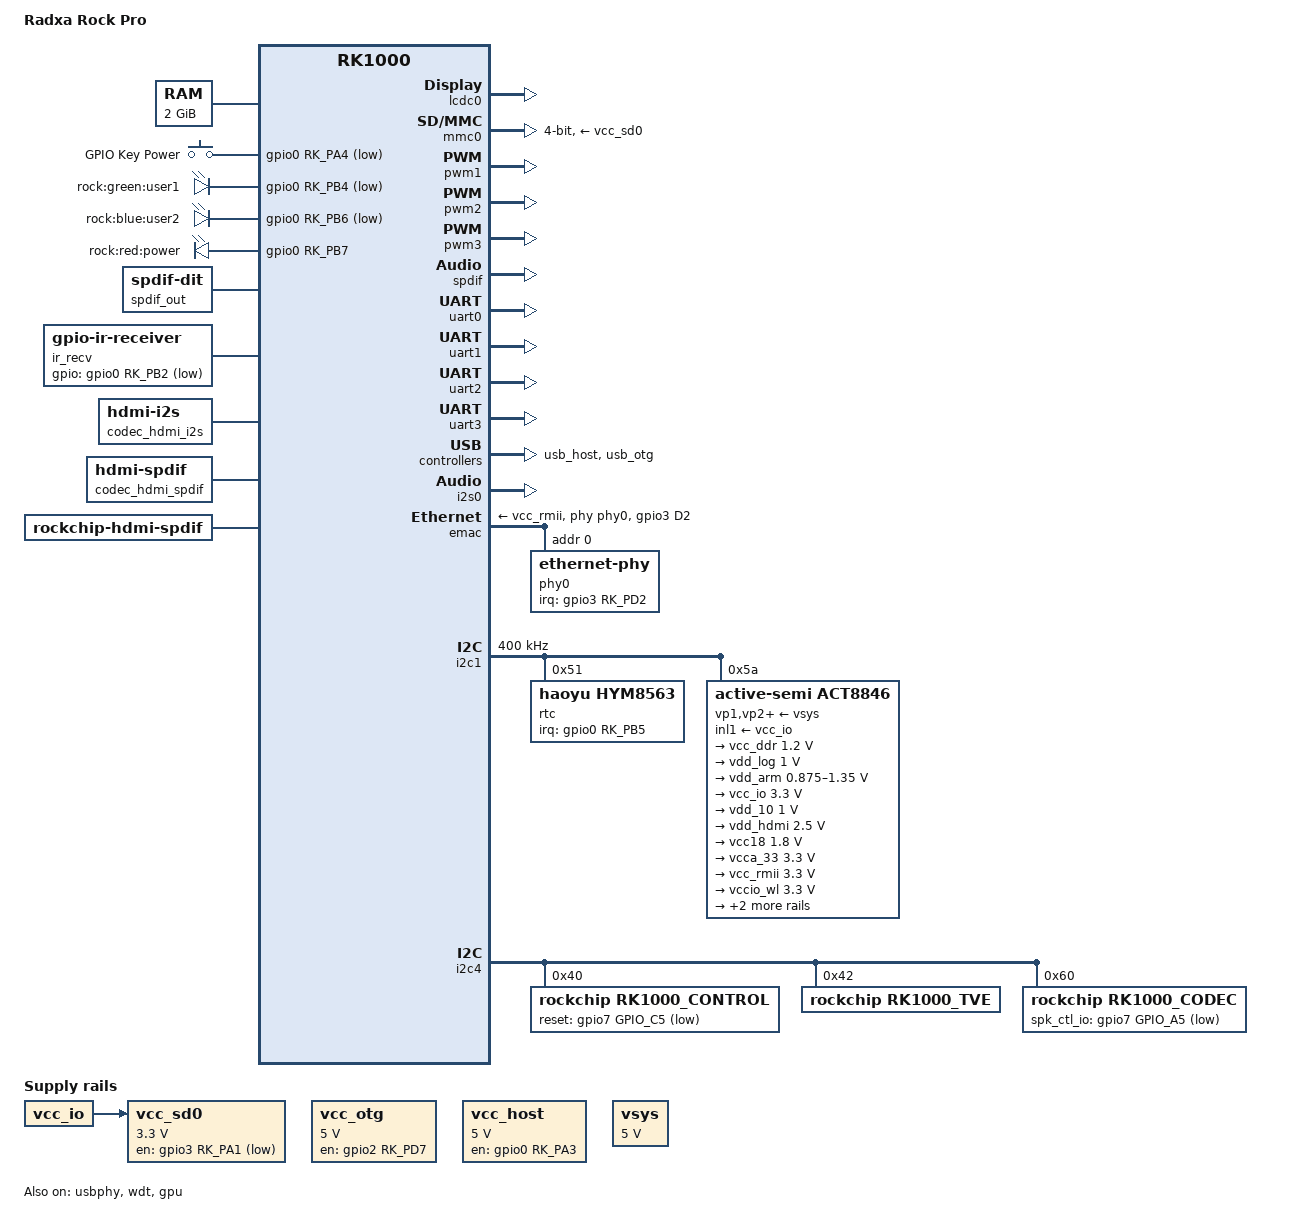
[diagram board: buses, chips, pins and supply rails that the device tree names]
// SPDX-License-Identifier: (GPL-2.0+ OR MIT)
/*
 * Copyright (c) 2013 Heiko Stuebner <heiko@sntech.de>
 */

/dts-v1/;
#include <dt-bindings/i2c/i2c.h>
#include <dt-bindings/input/input.h>
#include <dt-bindings/rkfb/rk_fb.h>
//#include <dt-bindings/display/rk_fb.h>
//#include "rk616.dtsi"
#include "rk3188.dtsi"
//#include "lcd-box.dtsi"
//#include <dt-bindings/display/screen-timing/lcd-box.dtsi>
/ {
	model = "Radxa Rock Pro";
	compatible = "radxa,rock", "rockchip,rk3188", "rockchip,rk3066", "rockchip,rk3066a";

	aliases {
		lcdc0 = &lcdc0;
		lcdc1 = &lcdc1;
	};

	memory@60000000 {
		device_type = "memory";
		reg = <0x60000000 0x80000000>;
	};

	gpio-keys {
		compatible = "gpio-keys";
		autorepeat;

		power {
			gpios = <&gpio0 RK_PA4 GPIO_ACTIVE_LOW>;
			linux,code = <KEY_POWER>;
			label = "GPIO Key Power";
			linux,input-type = <1>;
			wakeup-source;
			debounce-interval = <100>;
		};
	};

	gpio-leds {
		compatible = "gpio-leds";

		green: led-0 {
			label = "rock:green:user1";
			gpios = <&gpio0 RK_PB4 GPIO_ACTIVE_LOW>;
			default-state = "off";
		};

		blue: led-1 {
			label = "rock:blue:user2";
			gpios = <&gpio0 RK_PB6 GPIO_ACTIVE_LOW>;
			default-state = "off";
		};

		sleep: led-2 {
			label = "rock:red:power";
			gpios = <&gpio0 RK_PB7 GPIO_ACTIVE_HIGH>;
			default-state = "off";
		};
	};

	sound {
		compatible = "simple-audio-card";
		simple-audio-card,name = "SPDIF";

		simple-audio-card,dai-link@1 {  /* S/PDIF - S/PDIF */
			cpu { sound-dai = <&spdif>; };
			codec { sound-dai = <&spdif_out>; };
		};
	};

	spdif_out: spdif-out {
		compatible = "linux,spdif-dit";
		#sound-dai-cells = <0>;
	};

	ir_recv: gpio-ir-receiver {
		compatible = "gpio-ir-receiver";
		gpios = <&gpio0 RK_PB2 GPIO_ACTIVE_LOW>;
		pinctrl-names = "default";
		pinctrl-0 = <&ir_recv_pin>;
	};

	vcc_otg: usb-otg-regulator {
		compatible = "regulator-fixed";
		enable-active-high;
		gpio = <&gpio2 RK_PD7 GPIO_ACTIVE_HIGH>;
		pinctrl-names = "default";
		pinctrl-0 = <&otg_vbus_drv>;
		regulator-name = "otg-vbus";
		regulator-min-microvolt = <5000000>;
		regulator-max-microvolt = <5000000>;
		regulator-always-on;
		regulator-boot-on;
	};

	vcc_sd0: sdmmc-regulator {
		compatible = "regulator-fixed";
		regulator-name = "sdmmc-supply";
		regulator-min-microvolt = <3300000>;
		regulator-max-microvolt = <3300000>;
		gpio = <&gpio3 RK_PA1 GPIO_ACTIVE_LOW>;
		pinctrl-names = "default";
		pinctrl-0 = <&sdmmc_pwr>;
		startup-delay-us = <100000>;
		vin-supply = <&vcc_io>;
	};

	vcc_host: usb-host-regulator {
		compatible = "regulator-fixed";
		enable-active-high;
		gpio = <&gpio0 RK_PA3 GPIO_ACTIVE_HIGH>;
		pinctrl-names = "default";
		pinctrl-0 = <&host_vbus_drv>;
		regulator-name = "host-pwr";
		regulator-min-microvolt = <5000000>;
		regulator-max-microvolt = <5000000>;
		regulator-always-on;
		regulator-boot-on;
	};

	vsys: vsys-regulator {
		compatible = "regulator-fixed";
		regulator-name = "vsys";
		regulator-min-microvolt = <5000000>;
		regulator-max-microvolt = <5000000>;
		regulator-boot-on;
	};

	/*hdmi: hdmi@10114000 {
		compatible = "rockchip,rk3066-hdmi";
		reg = <0x10114000 0x2000>;
		interrupts = <GIC_SPI 64 IRQ_TYPE_LEVEL_HIGH>;
		clocks = <&cru HCLK_HDMI>;
		clock-names = "hclk";
		pinctrl-names = "default";
		pinctrl-0 = <&hdmii2c_xfer>, <&hdmi_hpd>;
		power-domains = <&power RK3066_PD_VIO>;
		rockchip,grf = <&grf>;
		status = "disabled";

		ports {
			#address-cells = <1>;
			#size-cells = <0>;

			hdmi_in: port@0 {
				reg = <0>;
				#address-cells = <1>;
				#size-cells = <0>;

				hdmi_in_vop0: endpoint@0 {
					reg = <0>;
					remote-endpoint = <&vop0_out_hdmi>;
				};

				hdmi_in_vop1: endpoint@1 {
					reg = <1>;
					remote-endpoint = <&vop1_out_hdmi>;
				};
			};

			hdmi_out: port@1 {
				reg = <1>;
			};
		};
	};*/


	codec_hdmi_i2s: codec-hdmi-i2s {
		compatible = "hdmi-i2s";
	};

	codec_hdmi_spdif: codec-hdmi-spdif {
		compatible = "hdmi-spdif";
	};

	/*rockchip-rk610 {
		compatible = "rockchip-rk610";
		dais {
			dai0 {
				audio-codec = <&rk610_codec>;
				audio-controller = <&i2s0>;
				format = "i2s";
				//continuous-clock;
				//bitclock-inversion;
				//frame-inversion;
				//bitclock-master;
				//frame-master;
			};
		};
	};*/
	/*rockchip-rk616 {
		compatible = "rockchip-rk616";
		dais {
			dai0 {
				audio-codec = <&rk616>;
				audio-controller = <&i2s0>;
				format = "i2s";
				//continuous-clock;
				//bitclock-inversion;
				//frame-inversion;
				//bitclock-master;
				//frame-master;
			};
			dai1 {
				audio-codec = <&rk616>;
				audio-controller = <&i2s0>;
				format = "dsp_a";
				//continuous-clock;
				bitclock-inversion;
				//frame-inversion;
				//bitclock-master;
				//frame-master;
			};
		};
	};*/

    /*
	rk616,lcd0_func = <1>;
    rk616,lcd1_func = <1>;
    rk616,lvds_ch_nr = <1>;
	.addr	       = 0x50,
	#define INVALID_GPIO -1
	*/
	/*rk616 {
		compatible = "rockchip,rk616";
		rk616,scl_rate = <100000>;
		rk616,lcd0_func = <1>;
		rk616,lcd1_func = <0>;
		rk616,lvds_ch_nr = <1>;
		//rk616,hdmi_irq_gpio = <&gpio2 GPIO_D6 1>;
		rk616,hdmi_irq_gpio = <-1>;
		rk616-codec {
			//spk-ctl-gpio = <&gpio2 GPIO_D7 GPIO_ACTIVE_HIGH>;
			spk-ctl-gpio = <-1>;
			//hp-ctl-gpio = <&gpio2 GPIO_D7 GPIO_ACTIVE_HIGH>;
			hp-ctl-gpio = <-1>;
			//rcv-ctl-gpio = <&gpio2 GPIO_D7 GPIO_ACTIVE_HIGH>;
			//mic-sel-gpio = <&gpio2 GPIO_D7 GPIO_ACTIVE_HIGH>;

			//delay for MOSFET or SPK power amplifier chip(ms)
			spk-amplifier-delay = <150>;
			hp-mosfet-delay = <50>;

			//hp-mic-capture-from-linein; //If hpmic is connected to linein, set this.
			//hp-mic-capture-from-mic2in; //If hpmic is connected to mic2, set this.
			//virtual-hp-gnd; //If hp gnd is not connected to gnd(0V), set this.

			//volume setting: 0 ~ 31, -18dB ~ 28.5dB, Step: 1.5dB
			skp-volume = <24>;
			hp-volume = <24>;
			capture-volume = <24>;
		};

		power_ctr: rk616_power_ctr {
			rk616_pwren: rk616_pwren {
				rockchip,power_type = <GPIO>;
				gpios = <&gpio0 GPIO_A3 GPIO_ACTIVE_HIGH>;
				rockchip,delay = <0>;
			};

			rk616_rst: rk616_rst {
				rockchip,power_type = <GPIO>;
				gpios = <&gpio3 GPIO_B2 GPIO_ACTIVE_HIGH>;
				rockchip,delay = <10>;
			};
		};
	};

	&rk618 {
		status = "okay";

		hdmi {
			compatible = "rockchip,rk618-hdmi";
			clocks = <&CRU HDMI_CLK>;
			clock-names = "hdmi";
			interrupt-parent = <&gpio3>;
			interrupts = <23 IRQ_TYPE_LEVEL_HIGH>;
			status = "okay";

			ports {
				#address-cells = <1>;
				#size-cells = <0>;

				port@0 {
					reg = <0>;

					bridge_input_rgb: endpoint {
						remote-endpoint = <&rgb_out_bridge>;
					};
				};
			};
		};
	};
	*/

	rockchip-hdmi-i2s {
		compatible = "rockchip-hdmi-i2s";
		dais {
			dai0 {
				audio-codec = <&codec_hdmi_i2s>;
				audio-controller = <&i2s0>;
				format = "i2s";
				//continuous-clock;
				//bitclock-inversion;
				//frame-inversion;
				//bitclock-master;
				//frame-master;
			};
		};
	};

	rockchip-hdmi-spdif {
		compatible = "rockchip-hdmi-spdif";
	};

	rockchip-rk1000 {
		compatible = "rockchip-rk1000";
		dais {
			dai0 {
				audio-codec = <&rk1000_codec>;
				audio-controller = <&i2s>;
				format = "i2s";
			};
		};
	};

/*
	vop0: vop@1010c000 {
		compatible = "rockchip,rk3188-vop";
		reg = <0x1010c000 0x1000>;
		interrupts = <GIC_SPI 13 IRQ_TYPE_LEVEL_HIGH>;
		clocks = <&cru ACLK_LCDC0>, <&cru DCLK_LCDC0>, <&cru HCLK_LCDC0>;
		clock-names = "aclk_vop", "dclk_vop", "hclk_vop";
		power-domains = <&power RK3188_PD_VIO>;
		resets = <&cru SRST_LCDC0_AXI>, <&cru SRST_LCDC0_AHB>, <&cru SRST_LCDC0_DCLK>;
		reset-names = "axi", "ahb", "dclk";
		status = "disabled";

		vop0_out: port {
			#address-cells = <1>;
			#size-cells = <0>;
		};
	};

	vop1: vop@1010e000 {
		compatible = "rockchip,rk3188-vop";
		reg = <0x1010e000 0x1000>;
		interrupts = <GIC_SPI 14 IRQ_TYPE_LEVEL_HIGH>;
		clocks = <&cru ACLK_LCDC1>, <&cru DCLK_LCDC1>, <&cru HCLK_LCDC1>;
		clock-names = "aclk_vop", "dclk_vop", "hclk_vop";
		power-domains = <&power RK3188_PD_VIO>;
		resets = <&cru SRST_LCDC1_AXI>, <&cru SRST_LCDC1_AHB>, <&cru SRST_LCDC1_DCLK>;
		reset-names = "axi", "ahb", "dclk";
		status = "disabled";

		vop1_out: port {
			#address-cells = <1>;
			#size-cells = <0>;
		};
	};
	*/

	//3128


	/*hdmi: hdmi@20034000 {
		compatible = "rockchip,rk312x-hdmi";
		reg = <0x20034000 0x4000>;
		interrupts = <GIC_SPI 45 IRQ_TYPE_LEVEL_HIGH>;
		rockchip,hdmi_lcdc_source = <0>;
		pinctrl-names = "default", "gpio";
		pinctrl-0 = <&hdmi_cec &hdmi_sda &hdmi_scl &hdmi_hpd>;
		pinctrl-1 = <&hdmi_gpio>;
		clocks = <&clk_gates3 8>, <&pd_hdmi>;
		clock-names = "pclk_hdmi", "pd_hdmi";
		rockchip,hdcp_enable = <0>;
		rockchip,cec_enable = <0>;
		status = "okay";
	};*/

	fb: fb{
		compatible = "rockchip,rk-fb";
		rockchip,disp-mode = <ONE_DUAL>;
		//rockchip,disp-mode = <DUAL>;
		//rockchip,disp-mode = <NO_DUAL>;
		//rockchip,uboot-logo-on = <1>;
		//rockchip,disp-policy = <DISPLAY_POLICY_BOX>;
	};
	rk_screen: rk_screen{
		compatible = "rockchip,screen";
		//display-timings = <&disp_timings>;
		#include <dt-bindings/display/screen-timing/lcd-box.dtsi>
	};
	/*&disp_timings {
		native-mode = <&timing1>;
	};	*/

	lcdc0: lcdc0@1010c000 {
		compatible = "rockchip,rk3188-lcdc";
		rockchip,prop = <PRMRY>;
		reg = <0x1010c000 0x2000>;
		interrupts = <GIC_SPI 9 IRQ_TYPE_LEVEL_HIGH>;
		clocks = <&clk_gates6 0>, <&dclk_lcdc0>, <&clk_gates6 1>, <&sclk_lcdc0>, <&pd_vop>, <&clk_cpll>;
		clock-names = "aclk_lcdc", "dclk_lcdc", "hclk_lcdc", "sclk_lcdc", "pd_lcdc", "sclk_pll";
		rockchip,iommu-enabled = <1>;
		status = "okay";

		pinctrl-names = "default", "gpio";
		pinctrl-0 = <&lcdc0_lcdc>;
		pinctrl-1 = <&lcdc0_gpio>;

		rockchip,fb-win-map = <FB_DEFAULT_ORDER>;
		rockchip,fb-win-map = <FB0_WIN0_FB1_WIN1_FB2_WIN2>;
		power_ctr: power_ctr {
			rockchip,debug = <1>;
			lcd_en: lcd_en {
				rockchip,power_type = <GPIO>;
				//gpios = <&gpio3 GPIO_C4 GPIO_ACTIVE_HIGH>;
				//gpios = <&gpio0 GPIO_B0 &pcfg_pull_none>;
				gpios = <&gpio0 RK_PB0 &pcfg_pull_none>;
				//gpios = <0 RK_PB0 RK_FUNC_GPIO &pcfg_pull_none>;
				rockchip,delay = <10>;
			};
			lcd_cs:lcd_cs {
				rockchip,power_type = <GPIO>;
				gpios = <&gpio2 GPIO_D6 GPIO_ACTIVE_HIGH>;
				rockchip,delay = <10>;
			};
			/*lcd_rst:lcd_rst {
				rockchip,power_type = <REGULATOR>;
				rockchip,delay = <5>;
			};*/
		};
	};
	lcdc1: lcdc1@1010e000 {
		compatible = "rockchip,rk3188-lcdc";
		rockchip,prop = <PRMRY>;
		reg = <0x1010e000 0x2000>;
		interrupts = <GIC_SPI 9 IRQ_TYPE_LEVEL_HIGH>;
		clocks = <&clk_gates6 0>, <&dclk_lcdc1>, <&clk_gates6 1>, <&sclk_lcdc1>, <&pd_vop>, <&clk_cpll>;
		clock-names = "aclk_lcdc", "dclk_lcdc", "hclk_lcdc", "sclk_lcdc", "pd_lcdc", "sclk_pll";
		rockchip,iommu-enabled = <1>;
		status = "disabled";

		pinctrl-names = "default", "gpio";
		pinctrl-0 = <&lcdc1_lcdc>;
		pinctrl-1 = <&lcdc1_gpio>;

		rockchip,fb-win-map = <FB_DEFAULT_ORDER>;
		rockchip,fb-win-map = <FB0_WIN0_FB1_WIN1_FB2_WIN2>;
		power_ctr: power_ctr {
			rockchip,debug = <1>;
			rockchip,mirror = <NO_MIRROR>;
			lcd_en: lcd_en {
				rockchip,power_type = <GPIO>;
				//gpios = <&gpio3 GPIO_C4 GPIO_ACTIVE_HIGH>;
				//gpios = <&gpio0 GPIO_B0 &pcfg_pull_none>;
				gpios = <&gpio0 RK_PB0 &pcfg_pull_none>;
				//gpios = <0 RK_PB0 RK_FUNC_GPIO &pcfg_pull_none>;
				rockchip,delay = <10>;
			};
			lcd_cs:lcd_cs {
				rockchip,power_type = <GPIO>;
				gpios = <&gpio2 GPIO_D6 GPIO_ACTIVE_HIGH>;
				rockchip,delay = <10>;
			};
			/*lcd_rst:lcd_rst {
				rockchip,power_type = <REGULATOR>;
				rockchip,delay = <5>;
			};*/
		};
	};
	/*lcd_cs: lcd-cs {
		rockchip,pins = <3 RK_PD6 RK_FUNC_GPIO &pcfg_pull_none>;
	};

	lcd_en: lcd-en {
		rockchip,pins = <0 RK_PB0 RK_FUNC_GPIO &pcfg_pull_none>;
	};*/



	/*&lcdc {
		//backlight = <&backlight>;
		pinctrl-names = "default", "gpio";
		pinctrl-0 = <&lcdc0_lcdc>;
		pinctrl-1 = <&lcdc0_gpio>;

		rockchip,fb-win-map = <FB_DEFAULT_ORDER>;
		rockchip,fb-win-map = <FB0_WIN0_FB1_WIN1_FB2_WIN2>;
		power_ctr: power_ctr {
			rockchip,debug = <0>;
			/*
			lcd_en: lcd_en {
				rockchip,power_type = <GPIO>;
				gpios = <&gpio3 GPIO_C4 GPIO_ACTIVE_HIGH>;
				rockchip,delay = <10>;
			};
			* /
		};
	};*/


	//3128

};

&cpu0 {
	cpu-supply = <&vdd_arm>;
};

&cpu1 {
	cpu-supply = <&vdd_arm>;
};

&cpu2 {
	cpu-supply = <&vdd_arm>;
};

&cpu3 {
	cpu-supply = <&vdd_arm>;
};

&mmc0 {
	status = "okay";
	pinctrl-names = "default";
	pinctrl-0 = <&sd0_clk>, <&sd0_cmd>, <&sd0_cd>, <&sd0_bus4>;
	vmmc-supply = <&vcc_sd0>;

	bus-width = <4>;
	cap-mmc-highspeed;
	cap-sd-highspeed;
	disable-wp;
};

&pwm1 {
	status = "okay";
};

&pwm2 {
	status = "okay";
};

&pwm3 {
	status = "okay";
};

&spdif {
	status = "okay";
};

&uart0 {
	status = "okay";
};

&uart1 {
	status = "okay";
};

&uart2 {
	status = "okay";
};

&uart3 {
	status = "okay";
};

&usbphy {
	status = "okay";
};

&usb_host {
	status = "okay";
};

&usb_otg {
	status = "okay";
};

&wdt {
	status = "okay";
};

&i2s0 {
	status = "okay";
};

&emac {
	status = "okay";

	pinctrl-names = "default";
	pinctrl-0 = <&emac_xfer>, <&emac_mdio>, <&phy_int>;

	phy = <&phy0>;
	phy-supply = <&vcc_rmii>;

	phy0: ethernet-phy@0 {
		reg = <0>;
		interrupt-parent = <&gpio3>;
		interrupts = <RK_PD2 IRQ_TYPE_LEVEL_LOW>;
	};
};

&i2c1 {
	status = "okay";
	clock-frequency = <400000>;

	rtc@51 {
		compatible = "haoyu,hym8563";
		reg = <0x51>;
		interrupt-parent = <&gpio0>;
		interrupts = <RK_PB5 IRQ_TYPE_EDGE_FALLING>;
		pinctrl-names = "default";
		pinctrl-0 = <&rtc_int>;
		#clock-cells = <0>;
		clock-output-names = "xin32k";
	};

	act8846: act8846@5a {
		compatible = "active-semi,act8846";
		reg = <0x5a>;
		status = "okay";
		system-power-controller;

		pinctrl-names = "default";
		pinctrl-0 = <&act8846_dvs0_ctl>;

		vp1-supply = <&vsys>;
		vp2-supply = <&vsys>;
		vp3-supply = <&vsys>;
		vp4-supply = <&vsys>;
		inl1-supply = <&vcc_io>;
		inl2-supply = <&vsys>;
		inl3-supply = <&vsys>;

		regulators {
			vcc_ddr: REG1 {
				regulator-name = "VCC_DDR";
				regulator-min-microvolt = <1200000>;
				regulator-max-microvolt = <1200000>;
				regulator-always-on;
			};

			vdd_log: REG2 {
				regulator-name = "VDD_LOG";
				regulator-min-microvolt = <1000000>;
				regulator-max-microvolt = <1000000>;
				regulator-always-on;
			};

			vdd_arm: REG3 {
				regulator-name = "VDD_ARM";
				regulator-min-microvolt = <875000>;
				regulator-max-microvolt = <1350000>;
				regulator-always-on;
			};

			vcc_io: REG4 {
				regulator-name = "VCC_IO";
				regulator-min-microvolt = <3300000>;
				regulator-max-microvolt = <3300000>;
				regulator-always-on;
			};

			vdd_10: REG5 {
				regulator-name = "VDD_10";
				regulator-min-microvolt = <1000000>;
				regulator-max-microvolt = <1000000>;
				regulator-always-on;
			};

			vdd_hdmi: REG6 {
				regulator-name = "VDD_HDMI";
				regulator-min-microvolt = <2500000>;
				regulator-max-microvolt = <2500000>;
				regulator-always-on;
			};

			vcc18: REG7 {
				regulator-name = "VCC_18";
				regulator-min-microvolt = <1800000>;
				regulator-max-microvolt = <1800000>;
				regulator-always-on;
			};

			vcca_33: REG8 {
				regulator-name = "VCCA_33";
				regulator-min-microvolt = <3300000>;
				regulator-max-microvolt = <3300000>;
				regulator-always-on;
			};

			vcc_rmii: REG9 {
				regulator-name = "VCC_RMII";
				regulator-min-microvolt = <3300000>;
				regulator-max-microvolt = <3300000>;
			};

			vccio_wl: REG10 {
				regulator-name = "VCCIO_WL";
				regulator-min-microvolt = <3300000>;
				regulator-max-microvolt = <3300000>;
				regulator-always-on;
			};

			vcc_18: REG11 {
				regulator-name = "VCC18_IO";
				regulator-min-microvolt = <1800000>;
				regulator-max-microvolt = <1800000>;
				regulator-always-on;
			};

			vcc28: REG12 {
				regulator-name = "VCC_28";
				regulator-min-microvolt = <2800000>;
				regulator-max-microvolt = <2800000>;
				regulator-always-on;
			};
		};
	};
};

&i2c4 {
	status = "okay";
	rk1000_control@40 {
		compatible = "rockchip,rk1000_control";
		reg = <0x40>;
		gpio-reset = <&gpio7 GPIO_C5 GPIO_ACTIVE_LOW>;
		#clocks = <&clk_i2s>, <&clk_i2s_out>;
		#clock-names = "i2s_clk","i2s_mclk";
		#pinctrl-names = "default";
		#pinctrl-0 = <&i2s_mclk>;
		status = "okay";
	};
	rk1000_tve@42 {
		compatible = "rockchip,rk1000_tve";
		reg = <0x42>;
		#rockchip,source = <0>; //0: LCDC0; 1: LCDC1
		#rockchip,prop = <PRMRY>;//<EXTEND>
		rockchip,source = <0>; //0: LCDC0; 1: LCDC1
		rockchip,prop = <EXTEND>;//<>
		status = "okay";
	};
	rk1000_codec: rk1000_codec@60 {
		compatible = "rockchip,rk1000_codec";
		reg = <0x60>;
		spk_ctl_io = <&gpio7 GPIO_A5 GPIO_ACTIVE_LOW>;
		boot_depop = <1>;
		pa_enable_time = <5000>;
		status = "okay";
	};
};

&pinctrl {
	pcfg_output_low: pcfg-output-low {
		output-low;
	};

	act8846 {
		act8846_dvs0_ctl: act8846-dvs0-ctl {
			rockchip,pins = <3 RK_PD3 RK_FUNC_GPIO &pcfg_output_low>;
		};
	};

	hym8563 {
		rtc_int: rtc-int {
			rockchip,pins = <0 RK_PA0 RK_FUNC_GPIO &pcfg_pull_up>;
		};
	};

	lan8720a  {
		phy_int: phy-int {
			rockchip,pins = <3 RK_PD2 RK_FUNC_GPIO &pcfg_pull_up>;
		};
	};

	ir-receiver {
		ir_recv_pin: ir-recv-pin {
			rockchip,pins = <0 RK_PB2 RK_FUNC_GPIO &pcfg_pull_none>;
		};
	};

	sd0 {
		sdmmc_pwr: sdmmc-pwr {
			rockchip,pins = <3 RK_PA1 RK_FUNC_GPIO &pcfg_pull_none>;
		};
	};

	usb {
		host_vbus_drv: host-vbus-drv {
			rockchip,pins = <0 RK_PA3 RK_FUNC_GPIO &pcfg_pull_none>;
		};
		otg_vbus_drv: otg-vbus-drv {
			rockchip,pins = <2 RK_PD7 RK_FUNC_GPIO &pcfg_pull_none>;
		};
	};

	display {
		lcd_cs: lcd-cs {
			rockchip,pins = <3 RK_PD6 RK_FUNC_GPIO &pcfg_pull_none>;
		};

		lcd_en: lcd-en {
			rockchip,pins = <0 RK_PB0 RK_FUNC_GPIO &pcfg_pull_none>;
		};
	};
};


&gpu {
	assigned-clocks = <&cru ACLK_GPU>;
	assigned-clock-rates = <300000000>;
	mali-supply = <&vdd_log>;
	status = "okay";
};

/*
&vop0 {
	status = "okay";
};

&vop0_out {
	vop0_out_lvds: endpoint {
		remote-endpoint = <&lvds_in_vop0>;
	};
};

&vop1 {
	pinctrl-names = "default";
	pinctrl-0 = <&lcdc1_dclk &lcdc1_den &lcdc1_hsync
		     &lcdc1_vsync &lcdc1_rgb24>;
	status = "okay";
};

/*&vop1_out {
	vop1_out_hdmi: endpoint {
		remote-endpoint = <&hdmi_in_vop>;
	};
};*/


/*

+&cru {
+    assigned-clocks = <&cru PLL_CPLL>, <&cru PLL_GPLL>,
+              <&cru ACLK_CPU>, <&cru HCLK_CPU>,
+              <&cru PCLK_CPU>, <&cru ACLK_PERI>,
+              <&cru HCLK_PERI>, <&cru PCLK_PERI>,
+              <&cru ACLK_LCDC0>, <&cru ACLK_LCDC1>;
+    assigned-clock-rates = <594000000>, <1200000000>,
+                   <300000000>, <150000000>,
+                   <75000000>, <300000000>,
+                   <150000000>, <75000000>,
+                   <297000000>, <297000000>;
+};
+

+	hdmi {
+		hdmi_int: hdmi-int {
+			rockchip,pins = <2 RK_PD6 RK_FUNC_GPIO &pcfg_pull_up>;
+		};
+
+		hdmi_rst: hdmi-rst {
+			rockchip,pins = <3 RK_PB2 RK_FUNC_GPIO &pcfg_pull_none>;
+		};
+	};
+



disp_timings: display-timings {
	native-mode = <&timing0>;
	timing0: timing0 {
			screen-type = <SCREEN_LVDS>;
			lvds-format = <LVDS_8BIT_2>;
			out-face    = <OUT_D888_P666>;
			clock-frequency = <71000000>;
			hactive = <1280>;
			vactive = <800>;
			hback-porch = <100>;
			hfront-porch = <18>;
			vback-porch = <8>;
			vfront-porch = <6>;
			hsync-len = <10>;
			vsync-len = <2>;
			hsync-active = <0>;
			vsync-active = <0>;
			de-active = <0>;
			pixelclk-active = <0>;
			swap-rb = <0>;
			swap-rg = <0>;
			swap-gb = <0>;
	};
};

disp_timings: display-timings {
        native-mode = <&timing0>;
        timing0: timing0 {
		screen-type = <SCREEN_EDP>;
		out-face    = <OUT_P666>;
		clock-frequency = <205000000>;
		hactive = <2048>;
		vactive = <1536>;
		hback-porch = <5>;
		hfront-porch = <150>;
		vback-porch = <9>;
		vfront-porch = <3>;
		hsync-len = <5>;
		vsync-len = <1>;
		hsync-active = <0>;
		vsync-active = <0>;
		de-active = <0>;
		pixelclk-active = <1>;
		swap-rb = <0>;
		swap-rg = <0>;
		swap-gb = <0>;
	};
};



  #include <dt-bindings/clock/rk3288-cru.h>
    #include <dt-bindings/interrupt-controller/arm-gic.h>
    #include <dt-bindings/power/rk3288-power.h>
    vopb: vopb@ff930000 {
      compatible = "rockchip,rk3288-vop";
      reg = <0xff930000 0x19c>,
            <0xff931000 0x1000>;
      interrupts = <GIC_SPI 15 IRQ_TYPE_LEVEL_HIGH>;
      clocks = <&cru ACLK_VOP0>,
               <&cru DCLK_VOP0>,
               <&cru HCLK_VOP0>;
      clock-names = "aclk_vop", "dclk_vop", "hclk_vop";
      power-domains = <&power RK3288_PD_VIO>;
      resets = <&cru SRST_LCDC1_AXI>,
               <&cru SRST_LCDC1_AHB>,
               <&cru SRST_LCDC1_DCLK>;
      reset-names = "axi", "ahb", "dclk";
      iommus = <&vopb_mmu>;
      vopb_out: port {
        #address-cells = <1>;
        #size-cells = <0>;
        vopb_out_edp: endpoint@0 {
          reg = <0>;
          remote-endpoint=<&edp_in_vopb>;
        };
        vopb_out_hdmi: endpoint@1 {
          reg = <1>;
          remote-endpoint=<&hdmi_in_vopb>;
        };
      };
    };


Possible supplies for rk3188:
- ap0-supply:    The supply connected to AP0_VCC.
- ap1-supply:    The supply connected to AP1_VCC.
- cif-supply:    The supply connected to CIF_VCC.
- flash-supply:  The supply connected to FLASH_VCC.
- lcdc0-supply:  The supply connected to LCD0_VCC.
- lcdc1-supply:  The supply connected to LCD1_VCC.
- vccio0-supply: The supply connected to VCCIO0.
- vccio1-supply: The supply connected to VCCIO1.
                 Sometimes also labeled VCCIO1 and VCCIO2.

	io-domains {
		compatible = "rockchip,rk3288-io-voltage-domain";
		rockchip,grf = <&grf>;

		audio-supply = <&vcc18_codec>;
		bb-supply = <&vcc33_io>;
		dvp-supply = <&vcc_18>;
		flash0-supply = <&vcc18_flashio>;
		gpio1830-supply = <&vcc33_io>;
		gpio30-supply = <&vcc33_pmuio>;
		lcdc-supply = <&vcc33_lcd>;
		sdcard-supply = <&vccio_sd>;
		wifi-supply = <&vcc18_wl>;
	};
*/


		display-timings {
			timing@0 {
				clock-frequency = <40000000>;
				hactive = <1920>;
				vactive = <1080>;
				hsync-len = <44>;
				hfront-porch = <88>;
				hback-porch = <148>;
				vfront-porch = <4>;
				vback-porch = <36>;
				vsync-len = <5>;
			};
		};


	rk1000-tve@42 {
		status = "okay";
		compatible = "rockchip,rk1000-tve";
		reg = <0x42>;
		rockchip,data-width = <24>;
		rockchip,output = "rgb";
		rockchip,ctl = <&rk1000_ctl>;
		rockchip,tvemode = <0>;
		ports {
			#address-cells = <1>;
			#size-cells = <0>;
			tve_in: port@0 {
				reg = <0>;
				tve_in_lvds: endpoint {
					remote-endpoint = <&lvds_out_tve>;
				};
			};
		};
	};
	rk1000-ctl@40 {
		compatible = "rockchip,rk1000-ctl";
		reg = <0x40>;
		reset-gpios = <&gpio0 1 GPIO_ACTIVE_LOW>;
		clocks = <&cru SCLK_I2S_8CH_OUT>;
		clock-names = "mclk";
		pinctrl-names = "default";
		pinctrl-0 = <&i2s_8ch_bus>;
		status = "okay";
	};
rk1000_codec: rk1000-codec@60 {
	compatible = "rockchip,rk1000_codec";
	reg = <0x60>;
	rockchip,spk-en-gpio = <&gpio3 31 GPIO_ACTIVE_LOW>;
	rockchip,pa-en-time-ms = <5000>;
	rockchip,ctl = <&rk1000_ctl>;
	status = "okay";
};
